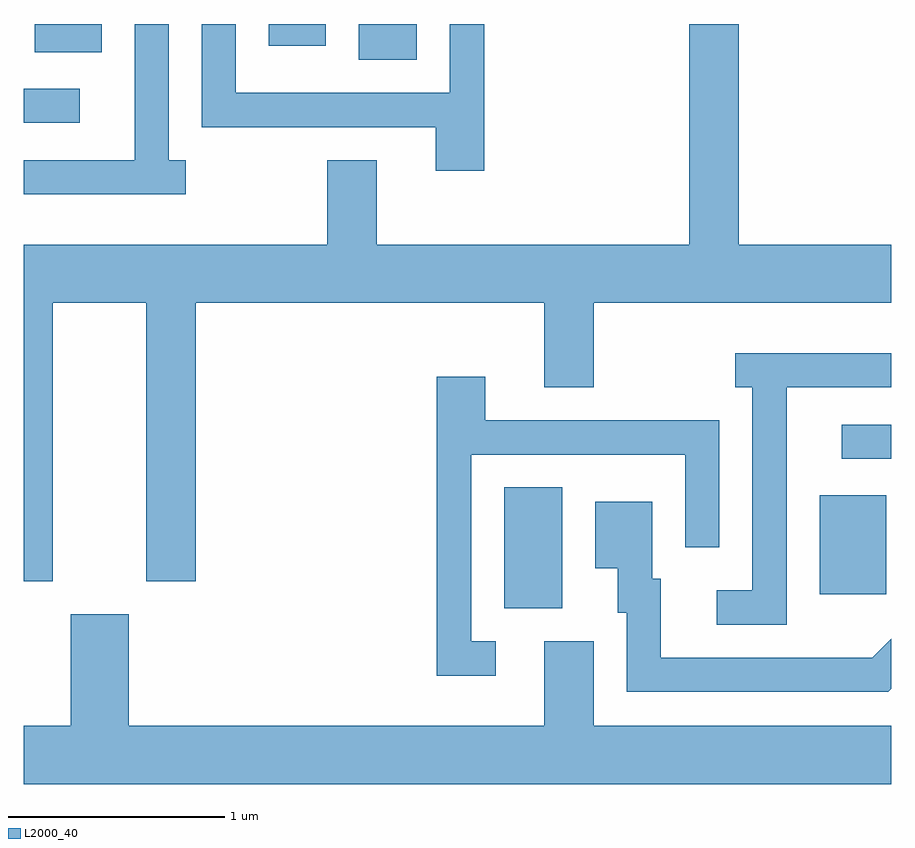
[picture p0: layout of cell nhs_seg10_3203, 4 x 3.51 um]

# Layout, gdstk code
import gdstk
lib = gdstk.Library(unit=1e-6, precision=1e-09)
def R(c, l, rs):  # rectangles x0, y0, x1, y1
    for r in rs: c.add(gdstk.rectangle(r[:2], r[2:], *l))
def P(c, l, *ps):  # polygons
    for p in ps: c.add(gdstk.Polygon(p, *l))
L2000_40 = (2000, 40)

nhs_seg10_3203 = lib.new_cell('nhs_seg10_3203')
R(nhs_seg10_3203, L2000_40, [(281.826,2125.826,282.094,2126.384), (283.281,2125.891,283.589,2126.349), (283.383,2126.516,283.611,2126.674), (279.611,2128.066,279.868,2128.224), (281.156,2128.356,281.424,2128.522), (279.661,2128.391,279.969,2128.522), (280.741,2128.421,281.004,2128.522)])
P(nhs_seg10_3203, L2000_40, [(279.744,2127.236),(280.176,2127.236),(280.176,2125.951),(280.404,2125.951),(280.404,2127.236),(282.011,2127.236),(282.011,2126.846),(282.239,2126.846),(282.239,2127.236),(283.611,2127.236),(283.611,2127.504),(282.909,2127.504),(282.909,2128.522),(282.681,2128.522),(282.681,2127.504),(281.239,2127.504),(281.239,2127.894),(281.011,2127.894),(281.011,2127.504),(279.611,2127.504),(279.611,2125.951),(279.744,2125.951)],
  [(281.734,2128.522),(281.576,2128.522),(281.576,2128.204),(280.589,2128.204),(280.589,2128.522),(280.431,2128.522),(280.431,2128.046),(281.511,2128.046),(281.511,2127.846),(281.734,2127.846)],
  [(280.358,2127.894),(280.279,2127.894),(280.279,2128.522),(280.121,2128.522),(280.121,2127.894),(279.611,2127.894),(279.611,2127.736),(280.358,2127.736)],
  [(283.129,2126.846),(283.611,2126.846),(283.611,2127.004),(282.893,2127.004),(282.893,2126.846),(282.971,2126.846),(282.971,2125.909),(282.808,2125.909),(282.808,2125.751),(283.129,2125.751)],
  [(281.788,2125.674),(281.674,2125.674),(281.674,2126.536),(282.661,2126.536),(282.661,2126.108),(282.819,2126.108),(282.819,2126.694),(281.739,2126.694),(281.739,2126.894),(281.516,2126.894),(281.516,2125.516),(281.788,2125.516)],
  [(283.611,2125.455),(283.611,2125.686),(283.524,2125.599),(282.549,2125.599),(282.549,2125.964),(282.509,2125.964),(282.509,2126.319),(282.246,2126.319),(282.246,2126.011),(282.351,2126.011),(282.351,2125.806),(282.391,2125.806),(282.391,2125.441),(283.597,2125.441)],
  [(283.611,2125.284),(282.239,2125.284),(282.239,2125.674),(282.011,2125.674),(282.011,2125.284),(280.094,2125.284),(280.094,2125.799),(279.826,2125.799),(279.826,2125.284),(279.611,2125.284),(279.611,2125.016),(283.611,2125.016)])

lib.write_gds('nhs_seg10_3203.gds')
